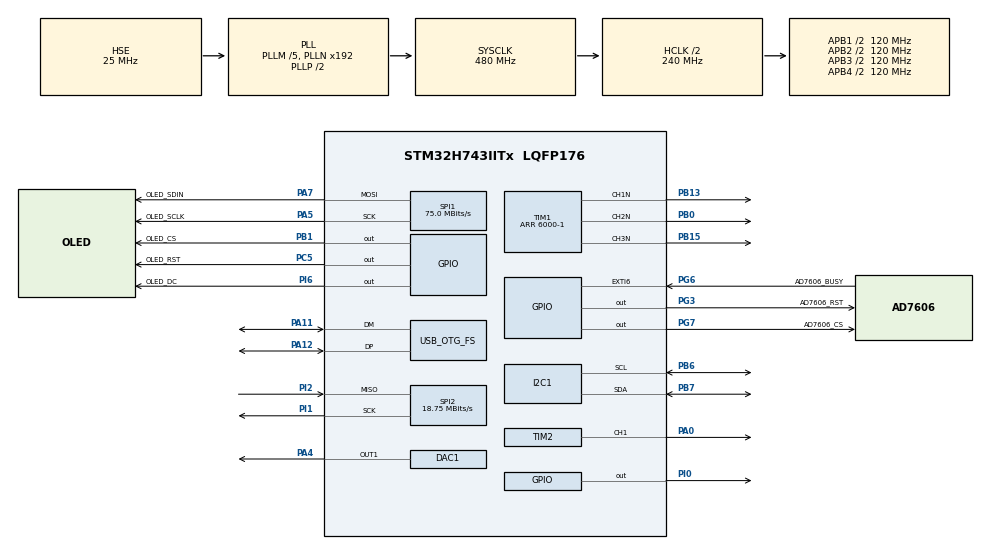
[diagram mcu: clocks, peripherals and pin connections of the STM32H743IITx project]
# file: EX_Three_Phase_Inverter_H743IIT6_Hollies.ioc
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CORTEX_M7.AccessPermission_S-Cortex_Memory_Protection_Unit_Region1_Settings_S=MPU_REGION_FULL_ACCESS
CORTEX_M7.AccessPermission_Spec=MPU_REGION_FULL_ACCESS
CORTEX_M7.BaseAddress_S-Cortex_Memory_Protection_Unit_Region1_Settings_S=0x20000000
CORTEX_M7.BaseAddress_Spec=0x24000000
CORTEX_M7.CPU_DCache=Enabled
CORTEX_M7.CPU_ICache=Enabled
CORTEX_M7.DisableExec_Spec=MPU_INSTRUCTION_ACCESS_ENABLE
CORTEX_M7.Enable_S-Cortex_Memory_Protection_Unit_Region1_Settings_S=MPU_REGION_ENABLE
CORTEX_M7.IsBufferable_S-Cortex_Memory_Protection_Unit_Region1_Settings_S=MPU_ACCESS_BUFFERABLE
CORTEX_M7.IsBufferable_Spec=MPU_ACCESS_BUFFERABLE
CORTEX_M7.IsCacheable_S-Cortex_Memory_Protection_Unit_Region1_Settings_S=MPU_ACCESS_CACHEABLE
CORTEX_M7.IsCacheable_Spec=MPU_ACCESS_CACHEABLE
CORTEX_M7.IsShareable_Spec=MPU_ACCESS_NOT_SHAREABLE
CORTEX_M7.Size_S-Cortex_Memory_Protection_Unit_Region1_Settings_S=MPU_REGION_SIZE_128KB
CORTEX_M7.Size_Spec=MPU_REGION_SIZE_512KB
CORTEX_M7.SubRegionDisable_Spec=0x0
CORTEX_M7.TypeExtField_S-Cortex_Memory_Protection_Unit_Region1_Settings_S=MPU_TEX_LEVEL1
CORTEX_M7.TypeExtField_Spec=MPU_TEX_LEVEL1
CORTEX_M7.default_mode_Activation=1
DAC1.DAC_Channel-DAC_OUT1=DAC_CHANNEL_1
FREERTOS.Tasks01=stateLED,24,128,StartStateLED,Default,NULL,Dynamic,NULL,NULL;oledShow,24,512,StartOledShow,Default,NULL,Dynamic,NULL,NULL;dcSamp,40,256,StartDcSamp,Default,NULL,Dynamic,NULL,NULL;usartDebug,24,256,StartUsartDebug,Default,NULL,Dynamic,NULL,NULL;acVControl,40,256,StartACVContorl,Default,NULL,Dynamic,NULL,NULL
FREERTOS.configENABLE_FPU=0
I2C1.Timing=0x307075B1
Mcu.Family=STM32H7
Mcu.Name=STM32H743IITx
Mcu.Package=LQFP176
NVIC.EXTI9_5_IRQn=true\:5\:0\:false\:false\:true\:true\:true\:true\:true
NVIC.OTG_FS_IRQn=true\:5\:0\:false\:false\:true\:true\:false\:true\:true
NVIC.PriorityGroup=NVIC_PRIORITYGROUP_4
NVIC.TIM6_DAC_IRQn=true\:5\:0\:false\:false\:true\:false\:false\:true\:true
NVIC.TimeBase=TIM6_DAC_IRQn
NVIC.TimeBaseIP=TIM6
PA0.Signal=S_TIM2_CH1_ETR
PA11.Mode=Device_Only
PA11.Signal=USB_OTG_FS_DM
PA12.Mode=Device_Only
PA12.Signal=USB_OTG_FS_DP
PA13\ (JTMS/SWDIO).Mode=Serial_Wire
PA13\ (JTMS/SWDIO).Signal=DEBUG_JTMS-SWDIO
PA14\ (JTCK/SWCLK).Mode=Serial_Wire
PA14\ (JTCK/SWCLK).Signal=DEBUG_JTCK-SWCLK
PA4.Signal=COMP_DAC11_group
PA5.GPIO_Label=OLED_SCLK
PA5.GPIO_Speed=GPIO_SPEED_FREQ_VERY_HIGH
PA5.Mode=TX_Only_Simplex_Unidirect_Master
PA5.Signal=SPI1_SCK
PA7.GPIO_Label=OLED_SDIN
PA7.GPIO_Speed=GPIO_SPEED_FREQ_VERY_HIGH
PA7.Mode=TX_Only_Simplex_Unidirect_Master
PA7.Signal=SPI1_MOSI
PB0.GPIO_Speed=GPIO_SPEED_FREQ_VERY_HIGH
PB0.Mode=PWM Generation2 CH2N
PB0.Signal=TIM1_CH2N
PB1.GPIO_Label=OLED_CS
PB1.GPIO_Speed=GPIO_SPEED_FREQ_VERY_HIGH
PB1.Signal=GPIO_Output
PB13.GPIO_Speed=GPIO_SPEED_FREQ_VERY_HIGH
PB13.Mode=PWM Generation1 CH1N
PB13.Signal=TIM1_CH1N
PB15.GPIO_Speed=GPIO_SPEED_FREQ_VERY_HIGH
PB15.Mode=PWM Generation3 CH3N
PB15.Signal=TIM1_CH3N
PB6.Mode=I2C
PB6.Signal=I2C1_SCL
PB7.Mode=I2C
PB7.Signal=I2C1_SDA
PC14-OSC32_IN\ (OSC32_IN).Mode=LSE-External-Oscillator
PC14-OSC32_IN\ (OSC32_IN).Signal=RCC_OSC32_IN
PC15-OSC32_OUT\ (OSC32_OUT).Mode=LSE-External-Oscillator
PC15-OSC32_OUT\ (OSC32_OUT).Signal=RCC_OSC32_OUT
PC5.GPIO_Label=OLED_RST
PC5.GPIO_Speed=GPIO_SPEED_FREQ_VERY_HIGH
PC5.Signal=GPIO_Output
PG3.GPIO_Label=AD7606_RST
PG3.GPIO_Speed=GPIO_SPEED_FREQ_VERY_HIGH
PG3.Signal=GPIO_Output
PG6.GPIO_Label=AD7606_BUSY
PG6.GPIO_ModeDefaultEXTI=GPIO_MODE_IT_FALLING
PG6.GPIO_PuPd=GPIO_PULLUP
PG6.Signal=GPXTI6
PG7.GPIO_Label=AD7606_CS
PG7.GPIO_Speed=GPIO_SPEED_FREQ_VERY_HIGH
PG7.Signal=GPIO_Output
PH0-OSC_IN\ (PH0).Mode=HSE-External-Oscillator
PH0-OSC_IN\ (PH0).Signal=RCC_OSC_IN
PH1-OSC_OUT\ (PH1).Mode=HSE-External-Oscillator
PH1-OSC_OUT\ (PH1).Signal=RCC_OSC_OUT
PI0.GPIO_Speed=GPIO_SPEED_FREQ_LOW
PI0.PinState=GPIO_PIN_SET
PI0.Signal=GPIO_Output
PI1.Mode=RX_Only_Simplex_Unidirect_Master
PI1.Signal=SPI2_SCK
PI2.Mode=RX_Only_Simplex_Unidirect_Master
PI2.Signal=SPI2_MISO
PI6.GPIO_Label=OLED_DC
PI6.GPIO_Speed=GPIO_SPEED_FREQ_VERY_HIGH
PI6.Signal=GPIO_Output
ProjectManager.HeapSize=0x4000
ProjectManager.StackSize=0x8000
ProjectManager.TargetToolchain=STM32CubeIDE
RCC.ADCFreq_Value=72000000
RCC.APB1Freq_Value=120000000
RCC.APB2Freq_Value=120000000
RCC.APB3Freq_Value=120000000
RCC.APB4Freq_Value=120000000
RCC.CortexFreq_Value=480000000
RCC.D1PPRE=RCC_APB3_DIV2
RCC.D2PPRE1=RCC_APB1_DIV2
RCC.D2PPRE2=RCC_APB2_DIV2
RCC.D3PPRE=RCC_APB4_DIV2
RCC.DIVM1=5
RCC.DIVM2=25
RCC.DIVM3=25
RCC.DIVN1=192
RCC.DIVN2=504
RCC.DIVN3=300
RCC.DIVP2=7
RCC.DIVQ1=20
RCC.HCLKFreq_Value=240000000
RCC.HPRE=RCC_HCLK_DIV2
RCC.PLLFRACN=0
RCC.PLLSourceVirtual=RCC_PLLSOURCE_HSE
RCC.SPI123CLockSelection=RCC_SPI123CLKSOURCE_PLL3
RCC.SYSCLKFreq_VALUE=480000000
RCC.SYSCLKSource=RCC_SYSCLKSOURCE_PLLCLK
RCC.USBFreq_Value=48000000
SH.COMP_DAC11_group.0=DAC1_OUT1,DAC_OUT1
SH.S_TIM2_CH1_ETR.0=TIM2_CH1,PWM Generation1 CH1
SPI1.BaudRatePrescaler=SPI_BAUDRATEPRESCALER_2
SPI1.CalculateBaudRate=75.0 MBits/s
SPI1.DataSize=SPI_DATASIZE_8BIT
SPI1.Direction=SPI_DIRECTION_2LINES_TXONLY
SPI1.Mode=SPI_MODE_MASTER
SPI1.VirtualType=VM_MASTER
SPI2.BaudRatePrescaler=SPI_BAUDRATEPRESCALER_8
SPI2.CLKPolarity=SPI_POLARITY_HIGH
SPI2.CalculateBaudRate=18.75 MBits/s
SPI2.DataSize=SPI_DATASIZE_16BIT
SPI2.Direction=SPI_DIRECTION_2LINES_RXONLY
SPI2.Mode=SPI_MODE_MASTER
SPI2.VirtualType=VM_MASTER
TIM1.Channel-PWM\ Generation1\ CH1N=TIM_CHANNEL_1
TIM1.Channel-PWM\ Generation2\ CH2N=TIM_CHANNEL_2
TIM1.Channel-PWM\ Generation3\ CH3N=TIM_CHANNEL_3
TIM1.CounterMode=TIM_COUNTERMODE_CENTERALIGNED1
TIM1.OCFastMode_PWM-PWM\ Generation1\ CH1N=TIM_OCFAST_ENABLE
TIM1.OCFastMode_PWM-PWM\ Generation2\ CH2N=TIM_OCFAST_ENABLE
TIM1.OCFastMode_PWM-PWM\ Generation3\ CH3N=TIM_OCFAST_ENABLE
TIM1.Period=6000-1
TIM1.Pulse-PWM\ Generation1\ CH1N=3000-1
TIM1.Pulse-PWM\ Generation2\ CH2N=3000-1
TIM1.Pulse-PWM\ Generation3\ CH3N=0
TIM2.Channel-PWM\ Generation1\ CH1=TIM_CHANNEL_1
TIM2.Period=12000-1
TIM2.Pulse-PWM\ Generation1\ CH1=9000-1
USB_DEVICE.CLASS_NAME_FS=CDC
USB_DEVICE.VirtualMode-CDC_FS=Cdc
USB_DEVICE.VirtualModeFS=Cdc_FS
USB_OTG_FS.VirtualMode=Device_Only
VP_FREERTOS_VS_CMSIS_V2.Mode=CMSIS_V2
VP_MEMORYMAP_VS_MEMORYMAP.Mode=CurAppReg
VP_SYS_VS_tim6.Mode=TIM6
VP_TIM1_VS_ClockSourceINT.Mode=Internal
VP_TIM2_VS_ClockSourceINT.Mode=Internal
VP_USB_DEVICE_VS_USB_DEVICE_CDC_FS.Mode=CDC_FS
board=custom

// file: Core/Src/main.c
/* USER CODE BEGIN Header */
/**
 ******************************************************************************
 * @file           : main.c
 * @brief          : Main program body
 ******************************************************************************
 * @attention
 *
 * Copyright (c) 2024 STMicroelectronics.
 * All rights reserved.
 *
 * This software is licensed under terms that can be found in the LICENSE file
 * in the root directory of this software component.
 * If no LICENSE file comes with this software, it is provided AS-IS.
 *
 ******************************************************************************
 */
/* USER CODE END Header */
#include "main.h"
#include "cmsis_os.h"
#include "dac.h"
#include "i2c.h"
#include "memorymap.h"
#include "spi.h"
#include "tim.h"
#include "usb_device.h"
#include "gpio.h"

void SystemClock_Config(void);
void PeriphCommonClock_Config(void);
static void MPU_Config(void);
void MX_FREERTOS_Init(void);

int main(void)
{

  /* MPU Configuration--------------------------------------------------------*/
  MPU_Config();

  /* Enable the CPU Cache */

  /* Enable I-Cache---------------------------------------------------------*/
  SCB_EnableICache();

  /* Enable D-Cache---------------------------------------------------------*/
  SCB_EnableDCache();

  /* MCU Configuration--------------------------------------------------------*/

  /* Reset of all peripherals, Initializes the Flash interface and the Systick. */
  HAL_Init();

  /* Configure the system clock */
  SystemClock_Config();

  /* Configure the peripherals common clocks */
  PeriphCommonClock_Config();

  /* Initialize all configured peripherals */
  MX_GPIO_Init();
  MX_SPI1_Init();
  MX_SPI2_Init();
  MX_TIM2_Init();
  MX_I2C1_Init();
  MX_TIM1_Init();
  MX_DAC1_Init();
  /* USER CODE BEGIN 2 */
  MX_USB_DEVICE_Init();
  /* USER CODE END 2 */

  /* Init scheduler */
  osKernelInitialize();

  /* Call init function for freertos objects (in cmsis_os2.c) */
  MX_FREERTOS_Init();

  /* Start scheduler */
  osKernelStart();

  /* We should never get here as control is now taken by the scheduler */

  /* Infinite loop */
  while (1)
  {

  }
}

void SystemClock_Config(void)
{
  RCC_OscInitTypeDef RCC_OscInitStruct = {0};
  RCC_ClkInitTypeDef RCC_ClkInitStruct = {0};

  /** Supply configuration update enable
   */
  HAL_PWREx_ConfigSupply(PWR_LDO_SUPPLY);

  /** Configure the main internal regulator output voltage
   */
  __HAL_PWR_VOLTAGESCALING_CONFIG(PWR_REGULATOR_VOLTAGE_SCALE1);

  while (!__HAL_PWR_GET_FLAG(PWR_FLAG_VOSRDY))
  {
  }

  __HAL_RCC_SYSCFG_CLK_ENABLE();
  __HAL_PWR_VOLTAGESCALING_CONFIG(PWR_REGULATOR_VOLTAGE_SCALE0);

  while (!__HAL_PWR_GET_FLAG(PWR_FLAG_VOSRDY))
  {
  }

  /** Initializes the RCC Oscillators according to the specified parameters
   * in the RCC_OscInitTypeDef structure.
   */
  RCC_OscInitStruct.OscillatorType = RCC_OSCILLATORTYPE_HSE;
  RCC_OscInitStruct.HSEState = RCC_HSE_ON;
  RCC_OscInitStruct.PLL.PLLState = RCC_PLL_ON;
  RCC_OscInitStruct.PLL.PLLSource = RCC_PLLSOURCE_HSE;
  RCC_OscInitStruct.PLL.PLLM = 5;
  RCC_OscInitStruct.PLL.PLLN = 192;
  RCC_OscInitStruct.PLL.PLLP = 2;
  RCC_OscInitStruct.PLL.PLLQ = 20;
  RCC_OscInitStruct.PLL.PLLR = 2;
  RCC_OscInitStruct.PLL.PLLRGE = RCC_PLL1VCIRANGE_2;
  RCC_OscInitStruct.PLL.PLLVCOSEL = RCC_PLL1VCOWIDE;
  RCC_OscInitStruct.PLL.PLLFRACN = 0;
  if (HAL_RCC_OscConfig(&RCC_OscInitStruct) != HAL_OK)
  {
    Error_Handler();
  }

  /** Initializes the CPU, AHB and APB buses clocks
   */
  RCC_ClkInitStruct.ClockType = RCC_CLOCKTYPE_HCLK | RCC_CLOCKTYPE_SYSCLK | RCC_CLOCKTYPE_PCLK1 | RCC_CLOCKTYPE_PCLK2 | RCC_CLOCKTYPE_D3PCLK1 | RCC_CLOCKTYPE_D1PCLK1;
  RCC_ClkInitStruct.SYSCLKSource = RCC_SYSCLKSOURCE_PLLCLK;
  RCC_ClkInitStruct.SYSCLKDivider = RCC_SYSCLK_DIV1;
  RCC_ClkInitStruct.AHBCLKDivider = RCC_HCLK_DIV2;
  RCC_ClkInitStruct.APB3CLKDivider = RCC_APB3_DIV2;
  RCC_ClkInitStruct.APB1CLKDivider = RCC_APB1_DIV2;
  RCC_ClkInitStruct.APB2CLKDivider = RCC_APB2_DIV2;
  RCC_ClkInitStruct.APB4CLKDivider = RCC_APB4_DIV2;

  if (HAL_RCC_ClockConfig(&RCC_ClkInitStruct, FLASH_LATENCY_4) != HAL_OK)
  {
    Error_Handler();
  }
}

void PeriphCommonClock_Config(void)
{
  RCC_PeriphCLKInitTypeDef PeriphClkInitStruct = {0};

  /** Initializes the peripherals clock
   */
  PeriphClkInitStruct.PeriphClockSelection = RCC_PERIPHCLK_SPI2 | RCC_PERIPHCLK_SPI1;
  PeriphClkInitStruct.PLL3.PLL3M = 25;
  PeriphClkInitStruct.PLL3.PLL3N = 300;
  PeriphClkInitStruct.PLL3.PLL3P = 2;
  PeriphClkInitStruct.PLL3.PLL3Q = 2;
  PeriphClkInitStruct.PLL3.PLL3R = 2;
  PeriphClkInitStruct.PLL3.PLL3RGE = RCC_PLL3VCIRANGE_0;
  PeriphClkInitStruct.PLL3.PLL3VCOSEL = RCC_PLL3VCOWIDE;
  PeriphClkInitStruct.PLL3.PLL3FRACN = 0;
  PeriphClkInitStruct.Spi123ClockSelection = RCC_SPI123CLKSOURCE_PLL3;
  if (HAL_RCCEx_PeriphCLKConfig(&PeriphClkInitStruct) != HAL_OK)
  {
    Error_Handler();
  }
}

/* MPU Configuration */

void MPU_Config(void)
{
  MPU_Region_InitTypeDef MPU_InitStruct = {0};

  /* Disables the MPU */
  HAL_MPU_Disable();

  /** Initializes and configures the Region and the memory to be protected
   */
  MPU_InitStruct.Enable = MPU_REGION_ENABLE;
  MPU_InitStruct.Number = MPU_REGION_NUMBER0;
  MPU_InitStruct.BaseAddress = 0x24000000;
  MPU_InitStruct.Size = MPU_REGION_SIZE_512KB;
  MPU_InitStruct.SubRegionDisable = 0x0;
  MPU_InitStruct.TypeExtField = MPU_TEX_LEVEL1;
  MPU_InitStruct.AccessPermission = MPU_REGION_FULL_ACCESS;
  MPU_InitStruct.DisableExec = MPU_INSTRUCTION_ACCESS_ENABLE;
  MPU_InitStruct.IsShareable = MPU_ACCESS_NOT_SHAREABLE;
  MPU_InitStruct.IsCacheable = MPU_ACCESS_CACHEABLE;
  MPU_InitStruct.IsBufferable = MPU_ACCESS_BUFFERABLE;

  HAL_MPU_ConfigRegion(&MPU_InitStruct);

  /** Initializes and configures the Region and the memory to be protected
   */
  MPU_InitStruct.Number = MPU_REGION_NUMBER1;
  MPU_InitStruct.BaseAddress = 0x20000000;
  MPU_InitStruct.Size = MPU_REGION_SIZE_128KB;

  HAL_MPU_ConfigRegion(&MPU_InitStruct);
  /* Enables the MPU */
  HAL_MPU_Enable(MPU_PRIVILEGED_DEFAULT);
}

void Error_Handler(void)
{
  __disable_irq();
  while (1)
  {
  }
}

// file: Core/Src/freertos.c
/* USER CODE BEGIN Header */
/**
 ******************************************************************************
 * File Name          : freertos.c
 * Description        : Code for freertos applications
 ******************************************************************************
 * @attention
 *
 * Copyright (c) 2024 STMicroelectronics.
 * All rights reserved.
 *
 * This software is licensed under terms that can be found in the LICENSE file
 * in the root directory of this software component.
 * If no LICENSE file comes with this software, it is provided AS-IS.
 *
 ******************************************************************************
 */
/* USER CODE END Header */

#include "FreeRTOS.h"
#include "task.h"
#include "main.h"
#include "cmsis_os.h"

/* USER CODE BEGIN Includes */
#include "oled.h"
#include "stdio.h"
#include "user_global.h"
#include "ad7606.h"
#include "spi.h"
#include "tim.h"
#include "gpio.h"
#include "ina228.h"
#include "arm_math.h"
#include "three_phrase_pll.h"
#include "dac.h"
#include "usb_device.h"
#include "usbd_cdc_if.h"
#include "pid.h"
/* USER CODE END Includes */

/* Definitions for stateLED */
osThreadId_t stateLEDHandle;
const osThreadAttr_t stateLED_attributes = {
    .name = "stateLED",
    .stack_size = 128 * 4,
    .priority = (osPriority_t)osPriorityNormal,
};
/* Definitions for oledShow */
osThreadId_t oledShowHandle;
const osThreadAttr_t oledShow_attributes = {
    .name = "oledShow",
    .stack_size = 512 * 4,
    .priority = (osPriority_t)osPriorityNormal,
};
/* Definitions for dcSamp */
osThreadId_t dcSampHandle;
const osThreadAttr_t dcSamp_attributes = {
    .name = "dcSamp",
    .stack_size = 256 * 4,
    .priority = (osPriority_t)osPriorityHigh,
};
/* Definitions for usartDebug */
osThreadId_t usartDebugHandle;
const osThreadAttr_t usartDebug_attributes = {
    .name = "usartDebug",
    .stack_size = 256 * 4,
    .priority = (osPriority_t)osPriorityNormal,
};
/* Definitions for acVControl */
osThreadId_t acVControlHandle;
const osThreadAttr_t acVControl_attributes = {
    .name = "acVControl",
    .stack_size = 256 * 4,
    .priority = (osPriority_t)osPriorityHigh,
};

/* USER CODE BEGIN FunctionPrototypes */
void appOLEDShow();
void appTaskStackShow();
void appACVControl();
/* USER CODE END FunctionPrototypes */

void StartStateLED(void *argument);
void StartOledShow(void *argument);
void StartDcSamp(void *argument);
void StartUsartDebug(void *argument);
void StartACVContorl(void *argument);

extern void MX_USB_DEVICE_Init(void);
void MX_FREERTOS_Init(void); /* (MISRA C 2004 rule 8.1) */

void MX_FREERTOS_Init(void)
{
  /* USER CODE BEGIN Init */
  OLED_Init();
  ad7606_Init();
  INA228_config(INA228_0);
  pll_Init_V(&signal_V, 50, 20000, 10.f);
  pll_Init_I(&signal_I, 50, 20000);
  HAL_TIMEx_PWMN_Start(&htim1, TIM_CHANNEL_1);
  HAL_TIMEx_PWMN_Start(&htim1, TIM_CHANNEL_2);
  HAL_TIMEx_PWMN_Start(&htim1, TIM_CHANNEL_3);
  HAL_DAC_Start(&hdac1, DAC_CHANNEL_1);
  ad7606_Start(&htim2, TIM_CHANNEL_1);
  /* USER CODE END Init */

  /* Create the thread(s) */
  /* creation of stateLED */
  stateLEDHandle = osThreadNew(StartStateLED, NULL, &stateLED_attributes);

  /* creation of oledShow */
  oledShowHandle = osThreadNew(StartOledShow, NULL, &oledShow_attributes);

  /* creation of dcSamp */
  dcSampHandle = osThreadNew(StartDcSamp, NULL, &dcSamp_attributes);

  /* creation of usartDebug */
  usartDebugHandle = osThreadNew(StartUsartDebug, NULL, &usartDebug_attributes);

  /* creation of acVControl */
  acVControlHandle = osThreadNew(StartACVContorl, NULL, &acVControl_attributes);

}

void StartStateLED(void *argument)
{
  /* init code for USB_DEVICE */
  MX_USB_DEVICE_Init();
  /* USER CODE BEGIN StartStateLED */
  /* Infinite loop */
  for (;;)
  {
    HAL_GPIO_TogglePin(GPIOI, GPIO_PIN_0);
    osDelay(100);
    HAL_GPIO_TogglePin(GPIOI, GPIO_PIN_0);
    osDelay(200);
    HAL_GPIO_TogglePin(GPIOI, GPIO_PIN_0);
    osDelay(100);
    HAL_GPIO_TogglePin(GPIOI, GPIO_PIN_0);
    osDelay(200);
    HAL_GPIO_WritePin(GPIOI, GPIO_PIN_1, GPIO_PIN_RESET);
    osDelay(1000);
  }
  /* USER CODE END StartStateLED */
}

void StartOledShow(void *argument)
{
  /* USER CODE BEGIN StartOledShow */
  /* Infinite loop */
  for (;;)
  {
    appOLEDShow();
    osDelay(100);
  }
  /* USER CODE END StartOledShow */
}

void StartDcSamp(void *argument)
{
  /* USER CODE BEGIN StartDcSamp */
  /* Infinite loop */
  for (;;)
  {
    U = INA228_getVBUS_V(INA228_0);
    I = INA228_getCURRENT_A(INA228_0);
    osDelay(10);
  }
  /* USER CODE END StartDcSamp */
}

void StartUsartDebug(void *argument)
{
  /* USER CODE BEGIN StartUsartDebug */
  static uint8_t text[32] = {0};
  /* Infinite loop */
  for (;;)
  {
    sprintf((char *)text, "%5.2f %5.2f\n", signal_V->basic->rms_a, signal_V->basic->input_a);
    CDC_Transmit_FS(text, 32);
    memset(text, 0, 32);
    osDelay(500);
  }
  /* USER CODE END StartUsartDebug */
}

void StartACVContorl(void *argument)
{
  /* USER CODE BEGIN StartACVContorl */
  /* Infinite loop */
  for (;;)
  {
    appACVControl();
    osDelay(25);
  }
  /* USER CODE END StartACVContorl */
}

/* USER CODE BEGIN Application */

/**
 * @brief OLED显示
 */
void appOLEDShow()
{
  static uint8_t text[32] = {0};
  sprintf((char *)text, "Ua: %5.2f Ub: %5.2f", signal_V->basic->rms_a, signal_V->basic->rms_b);
  OLED_ShowString(0, 0, text, 12);
  sprintf((char *)text, "Uc: %5.2f Ia: %5.2f", signal_V->basic->rms_c, signal_I->basic->rms_a);
  OLED_ShowString(0, 12, text, 12);
  sprintf((char *)text, "Ib: %5.2f Ic: %5.2f", signal_I->basic->rms_b, signal_I->basic->rms_c);
  OLED_ShowString(0, 24, text, 12);
  sprintf((char *)text, "U: %5.2f I: %5.2f", U, I);
  OLED_ShowString(0, 36, text, 12);
  float n = (signal_V->basic->rms_a * signal_I->basic->rms_a + signal_V->basic->rms_b * signal_I->basic->rms_b + signal_V->basic->rms_c * signal_I->basic->rms_c) / (U * I) * 100.f;
  if (n > 100.f)
  {
    n = 100.f;
  }
  else if (n < 0.f)
  {
    n = 0.f;
  }
  sprintf((char *)text, "cnt: %4ld n: %5.2f%%", __HAL_TIM_GET_COMPARE(&htim1, TIM_CHANNEL_1), n);
  OLED_ShowString(0, 48, text, 12);
  OLED_Refresh();
}

/**
 * @brief 任务剩余堆栈输出
 */
void appTaskStackShow()
{
  osThreadId_t currentTaskId[] = {stateLEDHandle, oledShowHandle, dcSampHandle, usartDebugHandle};
  osThreadAttr_t currentTaskAttr[] = {stateLED_attributes, oledShow_attributes, dcSamp_attributes, usartDebug_attributes};
  static int i = 0;

  static uint8_t text[32] = {0};
  sprintf((char *)text, "%d.%-10s: %4ld / %4ld \r\n", i, pcTaskGetTaskName(currentTaskId[i]), uxTaskGetStackHighWaterMark(currentTaskId[i]), currentTaskAttr[i].stack_size);
  CDC_Transmit_FS(text, 32);
  memset(text, 0, 32);
  i++;
  if (i >= 4)
  {
    i = 0;
  }
}

/**
 * @brief 交流逆变电压控制
 */
void appACVControl()
{
  static PID pidACV;
  pid_Init(&pidACV, 0.01f, 0.1f, 0, 1.f, 0.f);
  pid(&pidACV, 5.f, signal_V->basic->rms_a);
  M = pidACV.out;
}

/* USER CODE END Application */
